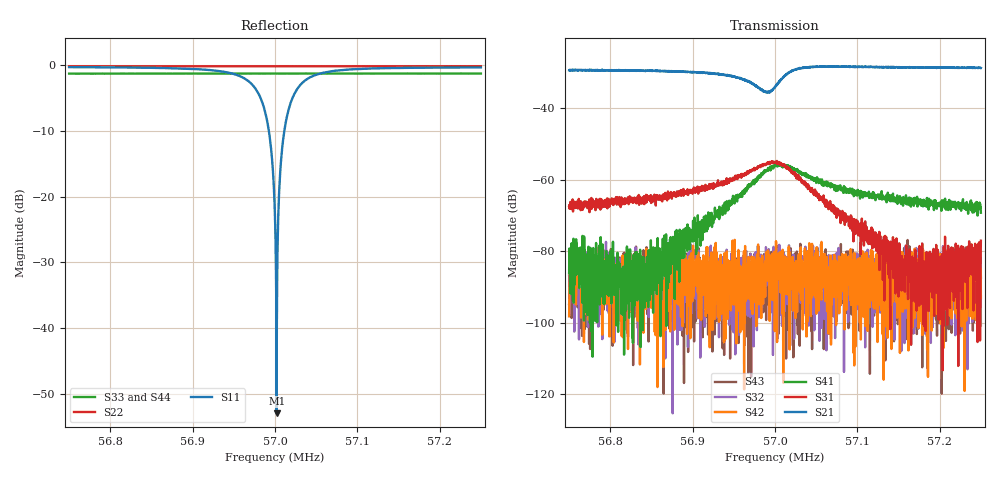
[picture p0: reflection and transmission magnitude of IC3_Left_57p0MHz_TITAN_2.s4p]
#  HZ  S  DB  R  50.00
! Rohde & Schwarz Vector Network Analyzer
! Rohde-Schwarz,ZNB8-4Port,1311601044102961,2.82
! Created: UTC 2/8/2019, 4:21:31 PM
! freq[Hz]  db:S11  ang:S11  db:S12  ang:S12  db:S13  ang:S13  db:S14  ang:S14
!  db:S21  ang:S21  db:S22  ang:S22  db:S23  ang:S23  db:S24  ang:S24
!  db:S31  ang:S31  db:S32  ang:S32  db:S33  ang:S33  db:S34  ang:S34
!  db:S41  ang:S41  db:S42  ang:S42  db:S43  ang:S43  db:S44  ang:S44
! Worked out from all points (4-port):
!   2001 points, 56.75 MHz to 57.25 MHz, reference 50 ohm
!   strongest paths, dB at 56.75 MHz, 56.875 MHz, 57 MHz, 57.125 MHz, 57.25 MHz:
!     S21: -29.3, -29.7, -33.9, -28.4, -28.6
!     S31: -67.3, -64.6, -55.2, -75.7, -77.0
!     S41: -86.0, -82.1, -55.8, -64.0, -69.2
!     S42: -98.2, -88.3, -96.4, -80.8, -93.1
!     S32: -86.6, -95.3, -97.6, -86.1, -100.8
!     S43: -94.7, -100.4, -82.1, -84.4, -87.4
!   lowest |S11| = -52.9 dB at 57.002 MHz (marker M1), VSWR 1.00, Z = 50.2 + j0.000426 ohm
!   |S11| at or under -10 dB: 56.99251 MHz to 57.01137 MHz (18.86 kHz wide, 0.0331 % of centre)
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5.675e7  -0.35 -125.4  -29.27 63.6  -68.65 -134.2  -80.42 -171.9
         -29.30 63.7  -0.22 72.8  -93.48 -39.1  -88.15 -113.9
         -67.32 -141.8  -86.62 76.7  -1.33 34.1  -84.80 -32.1
         -86.05 -108.8  -98.19 55.7  -94.74 103.3  -1.33 27.5
5.696975e7  -2.68 -173.8  -32.63 47.0  -57.55 -177.2  -61.86 -11.3
            -32.58 47.5  -0.21 69.1  -98.07 136.9  -89.69 160.7
            -57.70 -176.5  -92.03 76.8  -1.33 31.5  -86.10 -114.4
            -61.69 -7.0  -84.83 -90.5  -95.35 63.0  -1.33 24.9
5.699225e7  -9.80 154.5  -35.45 72.3  -55.60 152.4  -57.10 -42.1
            -35.44 71.8  -0.21 68.8  -86.02 -44.5  -84.16 137.7
            -55.01 152.5  -88.60 -42.6  -1.32 31.3  -89.12 -107.1
            -56.82 -41.6  -83.80 101.8  -84.71 -45.5  -1.32 24.6
5.7002e7  -52.94 0.1  -33.41 89.1  -55.34 130.7  -55.90 -59.0
          -33.35 90.0  -0.20 68.6  -82.66 -17.3  -78.63 166.8
          -55.12 131.8  -82.52 16.2  -1.33 31.1  -91.49 162.8
          -55.87 -59.1  -92.79 170.9  -99.88 87.4  -1.33 24.5
5.70115e7  -9.89 -65.3  -30.99 89.7  -55.98 112.2  -55.83 -80.5
           -30.90 91.4  -0.21 68.4  -82.46 -103.2  -85.09 85.4
           -56.18 109.5  -89.96 -27.2  -1.32 31.0  -90.27 4.0
           -56.34 -76.8  -85.91 98.2  -87.78 -27.0  -1.32 24.4
5.703375e7  -2.67 -97.4  -28.67 77.2  -60.72 80.0  -58.34 -108.3
            -28.69 77.2  -0.21 68.1  -83.98 -135.5  -84.95 -97.3
            -60.29 81.5  -91.13 99.7  -1.32 30.8  -82.67 -84.7
            -58.25 -106.4  -101.85 -42.0  -84.21 -143.9  -1.32 24.1
5.725e7  -0.39 -146.4  -28.59 49.2  -80.61 -134.9  -70.41 -154.5
         -28.65 48.4  -0.21 64.5  -87.85 -166.7  -84.62 -75.7
         -77.00 -177.5  -100.80 -99.2  -1.32 28.3  -91.72 80.7
         -69.20 -144.2  -93.09 77.5  -87.37 -141.2  -1.32 21.5
